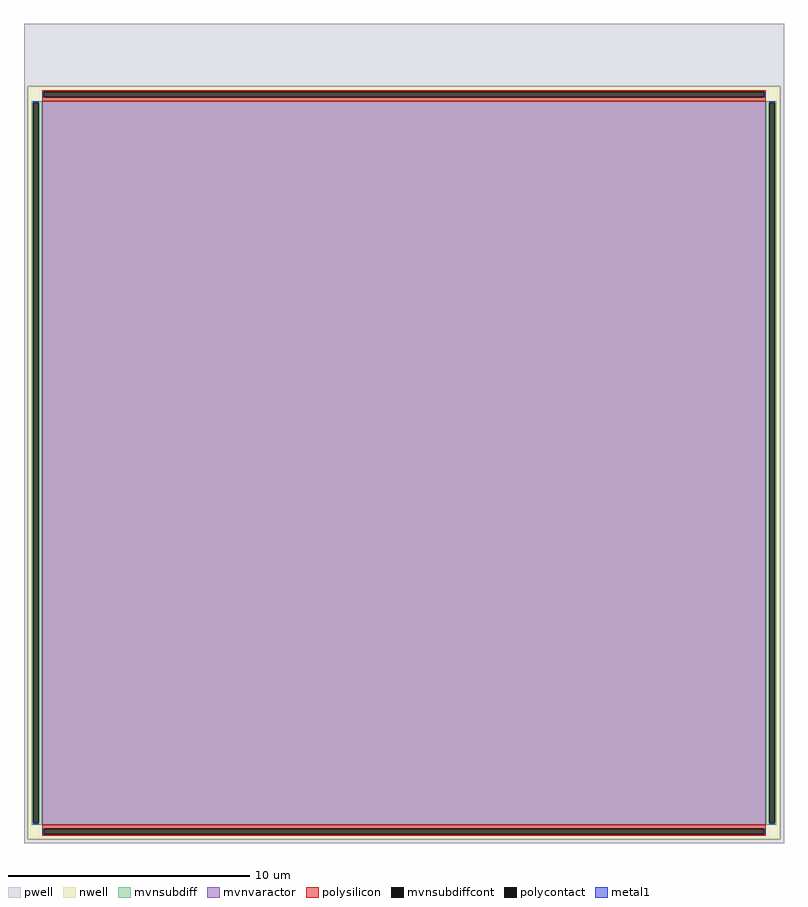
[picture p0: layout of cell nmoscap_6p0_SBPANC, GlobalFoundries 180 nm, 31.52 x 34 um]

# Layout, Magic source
magic
tech gf180mcuD
magscale 1 10
<< nwell >>
rect -3120 -3124 3120 3124
<< pwell >>
rect -3152 3124 3152 3643
rect -3152 -3124 -3120 3124
rect 3120 -3124 3152 3124
rect -3152 -3156 3152 -3124
<< mvnsubdiff >>
rect -3088 2987 -3000 3000
rect -3088 -2987 -3075 2987
rect -3029 -2987 -3000 2987
rect -3088 -3000 -3000 -2987
rect 3000 2987 3088 3000
rect 3000 -2987 3029 2987
rect 3075 -2987 3088 2987
rect 3000 -3000 3088 -2987
<< mvnsubdiffcont >>
rect -3075 -2987 -3029 2987
rect 3029 -2987 3075 2987
<< mvnvaractor >>
rect -3000 -3000 3000 3000
<< polysilicon >>
rect -3000 3079 3000 3092
rect -3000 3033 -2987 3079
rect 2987 3033 3000 3079
rect -3000 3000 3000 3033
rect -3000 -3033 3000 -3000
rect -3000 -3079 -2987 -3033
rect 2987 -3079 3000 -3033
rect -3000 -3092 3000 -3079
<< polycontact >>
rect -2987 3033 2987 3079
rect -2987 -3079 2987 -3033
<< metal1 >>
rect -2998 3033 -2987 3079
rect 2987 3033 2998 3079
rect -3075 2987 -3029 2998
rect -3075 -2998 -3029 -2987
rect 3029 2987 3075 2998
rect 3029 -2998 3075 -2987
rect -2998 -3079 -2987 -3033
rect 2987 -3079 2998 -3033
<< properties >>
string gencell nmoscap_6p0
string library gf180mcu
string parameters w 30 l 30 m 1 nf 1 diffcov 100 polycov 100 guard 0 glc 0 grc 0 gtc 0 gbc 0 tbcov 100 rlcov 100 topc 0 botc 0 poverlap 1 doverlap 1 lmin 0.28 wmin 0.3 class mosfet full_metal 0 compatible {nmoscap_3p3 nmoscap_6p0}
<< end >>
